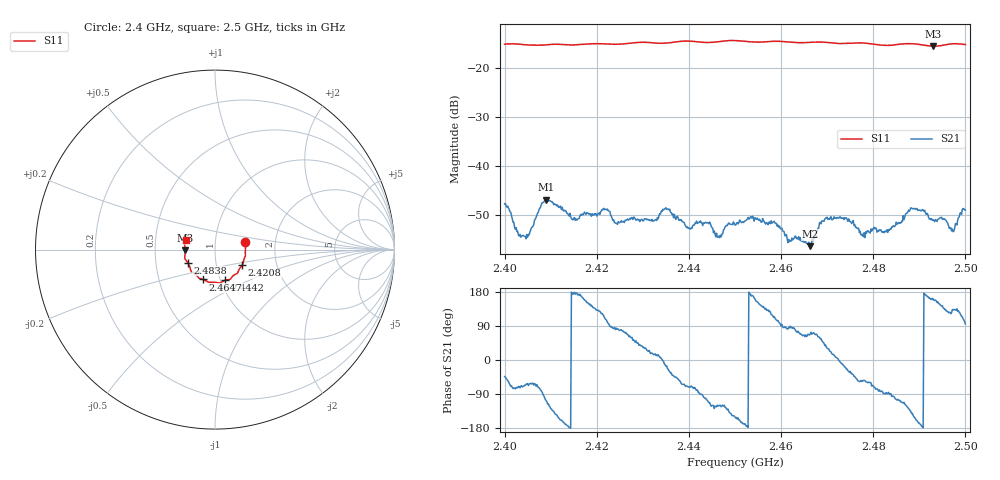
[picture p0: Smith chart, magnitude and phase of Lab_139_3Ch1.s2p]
# Hz S RI R 50
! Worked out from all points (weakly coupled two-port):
!   601 points, 2.4 GHz to 2.5 GHz, reference 50 ohm
!   highest |S21| = -46.91 dB at 2.409 GHz (marker M1); lowest = -56.4 dB at 2.4663 GHz (marker M2)
!   lowest |S11| = -15.6 dB at 2.493 GHz (marker M3), VSWR 1.40, Z = 35.8 - j0.237 ohm
!   |S11| at or under -10 dB: start of sweep to end of sweep
!   S12 and S22 are empty: the file has one direction only
!   S11 on the Smith chart (normalised r, x): 2.4 GHz: 1.40, +0.12; 2.4208 GHz: 1.33, -0.24; 2.4442 GHz: 1.05, -0.37; 2.4647 GHz: 0.83, -0.29; 2.4838 GHz: 0.73, -0.11; 2.5 GHz: 0.72, +0.08
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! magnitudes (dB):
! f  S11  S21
! 2.4 GHz  -15.2  -47.8
! 2.4045 GHz  -15.4  -54.4
! 2.409 GHz  -15.4  -46.9
! 2.4167 GHz  -15.3  -50.1
! 2.4208 GHz  -15.1  -49.4
! 2.4243 GHz  -15.2  -51.8
! 2.4333 GHz  -15.0  -50.8
! 2.4442 GHz  -14.9  -51.7
! 2.4467 GHz  -14.7  -54.6
! 2.45 GHz  -14.5  -52.1
! 2.4583 GHz  -14.6  -51.4
! 2.4647 GHz  -14.9  -55.5
! 2.4663 GHz  -14.8  -56.4
! 2.4667 GHz  -14.8  -55.4
! 2.4703 GHz  -14.9  -50.8
! 2.4777 GHz  -15.0  -53.9
! 2.4833 GHz  -15.5  -53.0
! 2.4838 GHz  -15.5  -52.9
! 2.4885 GHz  -15.1  -48.8
! 2.493 GHz  -15.6  -51.0
! 2.4972 GHz  -15.2  -52.9
! 2.5 GHz  -15.3  -49.0
